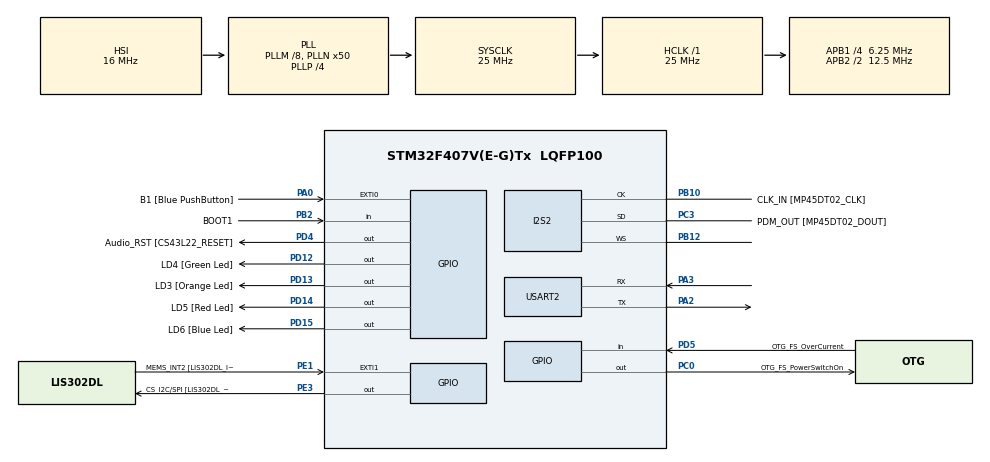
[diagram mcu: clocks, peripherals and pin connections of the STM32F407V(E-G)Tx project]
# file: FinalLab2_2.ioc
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I2S2.AudioFreq=I2S_AUDIOFREQ_44K
I2S2.ErrorAudioFreq=0.26 %
I2S2.Mode=I2S_MODE_MASTER_RX
I2S2.RealAudioFreq=44.117 KHz
Mcu.Family=STM32F4
Mcu.Name=STM32F407V(E-G)Tx
Mcu.Package=LQFP100
NVIC.PriorityGroup=NVIC_PRIORITYGROUP_0
PA0-WKUP.GPIO_Label=B1 [Blue PushButton]
PA0-WKUP.Signal=GPXTI0
PA10.GPIO_Label=OTG_FS_ID
PA10.GPIO_Mode=GPIO_MODE_AF_PP
PA10.GPIO_PuPd=GPIO_NOPULL
PA10.GPIO_Speed=GPIO_SPEED_FREQ_LOW
PA10.Signal=USB_OTG_FS_ID
PA11.GPIO_Label=OTG_FS_DM
PA11.GPIO_Mode=GPIO_MODE_AF_PP
PA11.GPIO_PuPd=GPIO_NOPULL
PA11.GPIO_Speed=GPIO_SPEED_FREQ_LOW
PA11.Signal=USB_OTG_FS_DM
PA12.GPIO_Label=OTG_FS_DP
PA12.GPIO_Mode=GPIO_MODE_AF_PP
PA12.GPIO_PuPd=GPIO_NOPULL
PA12.GPIO_Speed=GPIO_SPEED_FREQ_LOW
PA12.Signal=USB_OTG_FS_DP
PA13.GPIO_Label=SWDIO
PA13.Signal=SYS_JTMS-SWDIO
PA14.GPIO_Label=SWCLK
PA14.Signal=SYS_JTCK-SWCLK
PA2.Mode=Asynchronous
PA2.Signal=USART2_TX
PA3.Mode=Asynchronous
PA3.Signal=USART2_RX
PA4.GPIO_Label=I2S3_WS [CS43L22_LRCK]
PA4.GPIO_Mode=GPIO_MODE_AF_PP
PA4.GPIO_PuPd=GPIO_NOPULL
PA4.GPIO_Speed=GPIO_SPEED_FREQ_LOW
PA4.Signal=I2S3_WS
PA5.GPIO_Label=SPI1_SCK [LIS302DL_SCL/SPC]
PA5.GPIO_Mode=GPIO_MODE_AF_PP
PA5.GPIO_PuPd=GPIO_NOPULL
PA5.GPIO_Speed=GPIO_SPEED_FREQ_LOW
PA5.Signal=SPI1_SCK
PA6.GPIO_Label=SPI1_MISO [LIS302DL_SDO]
PA6.GPIO_Mode=GPIO_MODE_AF_PP
PA6.GPIO_PuPd=GPIO_NOPULL
PA6.GPIO_Speed=GPIO_SPEED_FREQ_LOW
PA6.Signal=SPI1_MISO
PA7.GPIO_Label=SPI1_MOSI [LIS302DL_SDA/SDI/SDO]
PA7.GPIO_Mode=GPIO_MODE_AF_PP
PA7.GPIO_PuPd=GPIO_NOPULL
PA7.GPIO_Speed=GPIO_SPEED_FREQ_LOW
PA7.Signal=SPI1_MOSI
PA9.GPIO_Label=VBUS_FS
PA9.GPIO_Mode=GPIO_MODE_INPUT
PA9.GPIO_PuPd=GPIO_NOPULL
PA9.Signal=USB_OTG_FS_VBUS
PB10.GPIO_Label=CLK_IN [MP45DT02_CLK]
PB10.GPIO_Mode=GPIO_MODE_AF_PP
PB10.GPIO_PuPd=GPIO_NOPULL
PB10.GPIO_Speed=GPIO_SPEED_FREQ_LOW
PB10.Mode=Half_Duplex_Master
PB10.Signal=I2S2_CK
PB12.Mode=Half_Duplex_Master
PB12.Signal=I2S2_WS
PB2.GPIO_Label=BOOT1
PB2.GPIO_Mode=GPIO_MODE_INPUT
PB2.GPIO_PuPd=GPIO_NOPULL
PB2.Signal=GPIO_Input
PB3.GPIO_Label=SWO
PB3.Signal=SYS_JTDO-SWO
PB6.GPIO_Label=Audio_SCL [CS43L22_SCL]
PB6.GPIO_Mode=GPIO_MODE_AF_OD
PB6.GPIO_PuPd=GPIO_NOPULL
PB6.GPIO_Speed=GPIO_SPEED_FREQ_LOW
PB6.Signal=I2C1_SCL
PB9.GPIO_Label=Audio_SDA [CS43L22_SDA]
PB9.GPIO_Mode=GPIO_MODE_AF_OD
PB9.GPIO_PuPd=GPIO_NOPULL
PB9.GPIO_Speed=GPIO_SPEED_FREQ_LOW
PB9.Signal=I2C1_SDA
PC0.GPIO_Label=OTG_FS_PowerSwitchOn
PC0.GPIO_PuPd=GPIO_NOPULL
PC0.GPIO_Speed=GPIO_SPEED_FREQ_LOW
PC0.PinState=GPIO_PIN_SET
PC0.Signal=GPIO_Output
PC10.GPIO_Label=I2S3_SCK [CS43L22_SCLK]
PC10.GPIO_Mode=GPIO_MODE_AF_PP
PC10.GPIO_PuPd=GPIO_NOPULL
PC10.GPIO_Speed=GPIO_SPEED_FREQ_LOW
PC10.Signal=I2S3_CK
PC12.GPIO_Label=I2S3_SD [CS43L22_SDIN]
PC12.GPIO_Mode=GPIO_MODE_AF_PP
PC12.GPIO_PuPd=GPIO_NOPULL
PC12.GPIO_Speed=GPIO_SPEED_FREQ_LOW
PC12.Signal=I2S3_SD
PC14-OSC32_IN.GPIO_Label=PC14-OSC32_IN
PC14-OSC32_IN.Signal=RCC_OSC32_IN
PC15-OSC32_OUT.GPIO_Label=PC15-OSC32_OUT
PC15-OSC32_OUT.Signal=RCC_OSC32_OUT
PC3.GPIO_Label=PDM_OUT [MP45DT02_DOUT]
PC3.GPIO_Mode=GPIO_MODE_AF_PP
PC3.GPIO_PuPd=GPIO_NOPULL
PC3.GPIO_Speed=GPIO_SPEED_FREQ_LOW
PC3.Mode=Half_Duplex_Master
PC3.Signal=I2S2_SD
PC7.GPIO_Label=I2S3_MCK [CS43L22_MCLK]
PC7.GPIO_Mode=GPIO_MODE_AF_PP
PC7.GPIO_PuPd=GPIO_NOPULL
PC7.GPIO_Speed=GPIO_SPEED_FREQ_LOW
PC7.Signal=I2S3_MCK
PD12.GPIO_Label=LD4 [Green Led]
PD12.GPIO_PuPd=GPIO_NOPULL
PD12.GPIO_Speed=GPIO_SPEED_FREQ_LOW
PD12.Signal=GPIO_Output
PD13.GPIO_Label=LD3 [Orange Led]
PD13.GPIO_PuPd=GPIO_NOPULL
PD13.GPIO_Speed=GPIO_SPEED_FREQ_LOW
PD13.Signal=GPIO_Output
PD14.GPIO_Label=LD5 [Red Led]
PD14.GPIO_PuPd=GPIO_NOPULL
PD14.GPIO_Speed=GPIO_SPEED_FREQ_LOW
PD14.Signal=GPIO_Output
PD15.GPIO_Label=LD6 [Blue Led]
PD15.GPIO_PuPd=GPIO_NOPULL
PD15.GPIO_Speed=GPIO_SPEED_FREQ_LOW
PD15.Signal=GPIO_Output
PD4.GPIO_Label=Audio_RST [CS43L22_RESET]
PD4.GPIO_PuPd=GPIO_NOPULL
PD4.GPIO_Speed=GPIO_SPEED_FREQ_LOW
PD4.Signal=GPIO_Output
PD5.GPIO_Label=OTG_FS_OverCurrent
PD5.GPIO_Mode=GPIO_MODE_INPUT
PD5.GPIO_PuPd=GPIO_NOPULL
PD5.Signal=GPIO_Input
PE1.GPIO_Label=MEMS_INT2 [LIS302DL_INT2]
PE1.GPIO_ModeDefaultEXTI=GPIO_MODE_EVT_RISING
PE1.GPIO_PuPd=GPIO_NOPULL
PE1.Signal=GPXTI1
PE3.GPIO_Label=CS_I2C/SPI [LIS302DL_CS_I2C/SPI]
PE3.GPIO_PuPd=GPIO_NOPULL
PE3.GPIO_Speed=GPIO_SPEED_FREQ_LOW
PE3.Signal=GPIO_Output
PH0-OSC_IN.GPIO_Label=PH0-OSC_IN
PH0-OSC_IN.Signal=RCC_OSC_IN
PH1-OSC_OUT.GPIO_Label=PH1-OSC_OUT
PH1-OSC_OUT.Signal=RCC_OSC_OUT
ProjectManager.HeapSize=0x200
ProjectManager.StackSize=0x400
ProjectManager.TargetToolchain=SW4STM32
RCC.48MHZClocksFreq_Value=14285714.285714285
RCC.AHBFreq_Value=25000000
RCC.APB1CLKDivider=RCC_HCLK_DIV4
RCC.APB1Freq_Value=6250000
RCC.APB1TimFreq_Value=12500000
RCC.APB2CLKDivider=RCC_HCLK_DIV2
RCC.APB2Freq_Value=12500000
RCC.APB2TimFreq_Value=25000000
RCC.CortexFreq_Value=25000000
RCC.HCLKFreq_Value=25000000
RCC.HSE_VALUE=8000000
RCC.HSI_VALUE=16000000
RCC.LSE_VALUE=32768
RCC.PLLM=8
RCC.PLLN=50
RCC.PLLP=RCC_PLLP_DIV4
RCC.PLLQ=7
RCC.SYSCLKFreq_VALUE=25000000
RCC.SYSCLKSource=RCC_SYSCLKSOURCE_PLLCLK
RCC.VCOOutputFreq_Value=100000000
board=STM32F407G-DISC1

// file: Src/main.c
/**
  ******************************************************************************
  * File Name          : main.c
  * Description        : Main program body
  ******************************************************************************
  *
  * COPYRIGHT(c) 2559 STMicroelectronics
  *
  * Redistribution and use in source and binary forms, with or without modification,
  * are permitted provided that the following conditions are met:
  *   1. Redistributions of source code must retain the above copyright notice,
  *      this list of conditions and the following disclaimer.
  *   2. Redistributions in binary form must reproduce the above copyright notice,
  *      this list of conditions and the following disclaimer in the documentation
  *      and/or other materials provided with the distribution.
  *   3. Neither the name of STMicroelectronics nor the names of its contributors
  *      may be used to endorse or promote products derived from this software
  *      without specific prior written permission.
  *
  * THIS SOFTWARE IS PROVIDED BY THE COPYRIGHT HOLDERS AND CONTRIBUTORS "AS IS"
  * AND ANY EXPRESS OR IMPLIED WARRANTIES, INCLUDING, BUT NOT LIMITED TO, THE
  * IMPLIED WARRANTIES OF MERCHANTABILITY AND FITNESS FOR A PARTICULAR PURPOSE ARE
  * DISCLAIMED. IN NO EVENT SHALL THE COPYRIGHT HOLDER OR CONTRIBUTORS BE LIABLE
  * FOR ANY DIRECT, INDIRECT, INCIDENTAL, SPECIAL, EXEMPLARY, OR CONSEQUENTIAL
  * DAMAGES (INCLUDING, BUT NOT LIMITED TO, PROCUREMENT OF SUBSTITUTE GOODS OR
  * SERVICES; LOSS OF USE, DATA, OR PROFITS; OR BUSINESS INTERRUPTION) HOWEVER
  * CAUSED AND ON ANY THEORY OF LIABILITY, WHETHER IN CONTRACT, STRICT LIABILITY,
  * OR TORT (INCLUDING NEGLIGENCE OR OTHERWISE) ARISING IN ANY WAY OUT OF THE USE
  * OF THIS SOFTWARE, EVEN IF ADVISED OF THE POSSIBILITY OF SUCH DAMAGE.
  *
  ******************************************************************************
  */
#include "main.h"
#include "stm32f4xx_hal.h"

I2S_HandleTypeDef hi2s2;

UART_HandleTypeDef huart2;

/* USER CODE BEGIN PV */
/* Private variables ---------------------------------------------------------*/

/* USER CODE END PV */

void SystemClock_Config(void);
void Error_Handler(void);
static void MX_GPIO_Init(void);
static void MX_I2S2_Init(void);
static void MX_USART2_UART_Init(void);

/* USER CODE BEGIN PFP */
/* Private function prototypes -----------------------------------------------*/

/* USER CODE END PFP */

/* USER CODE BEGIN 0 */
float absfunc(float x){
	if (x < 0) return -1*x;
	else return x;
}
void DoutoC(double f,char * buffer){
    gcvt(f,10,buffer);
}
/* USER CODE END 0 */

int main(void)
{

  /* MCU Configuration----------------------------------------------------------*/

  /* Reset of all peripherals, Initializes the Flash interface and the Systick. */
  HAL_Init();

  /* Configure the system clock */
  SystemClock_Config();

  /* Initialize all configured peripherals */
  MX_GPIO_Init();
  MX_I2S2_Init();
  MX_USART2_UART_Init();

  /* USER CODE BEGIN 2 */
  uint16_t buffer[20];
  uint16_t pdm=0;
  uint8_t  pcm=0;
  int it,tick = 0;
  float pcm_buffer = 0.0;
  float amp = 0.0;
  float max_amp = 0;
  char max_amp_str[20];
  /* USER CODE END 2 */

  /* Infinite loop */
  /* USER CODE BEGIN WHILE */
  while (1)
  {
	  /* Read Value From I2S */
	  HAL_I2S_Receive(&hi2s2, buffer, 20, 1000);

    tick = tick+1;
	  for(it=0; it<20; it++){
	        pcm = -8;
	        pdm = buffer[it];
	        // Count high bit
	        while ( pdm != 0 ) {
	          pcm ++;
	          pdm ^= pdm & -pdm;
	        }
	        pcm_buffer += pcm;
	        pcm_buffer *= 0.95;
	        amp += absfunc(pcm_buffer);
	        amp *= 0.95;
	  }
	  // replace with new Max amp
    if(max_amp <amp) {
	    max_amp = amp;
	  }

    // reset every 1000 ticks
	  if(tick == 1000){
	    DoutoC(max_amp,max_amp_str);
	    HAL_UART_Transmit(&huart2,max_amp_str,10, 1000);
	    HAL_UART_Transmit(&huart2,"\n\r",2, 1000);
	    max_amp = 0;
	    tick = 0;
	  }

  /* USER CODE END WHILE */

  }

}

/** System Clock Configuration
*/
void SystemClock_Config(void)
{

  RCC_OscInitTypeDef RCC_OscInitStruct;
  RCC_ClkInitTypeDef RCC_ClkInitStruct;
  RCC_PeriphCLKInitTypeDef PeriphClkInitStruct;

    /**Configure the main internal regulator output voltage
    */
  __HAL_RCC_PWR_CLK_ENABLE();

  __HAL_PWR_VOLTAGESCALING_CONFIG(PWR_REGULATOR_VOLTAGE_SCALE1);

    /**Initializes the CPU, AHB and APB busses clocks
    */
  RCC_OscInitStruct.OscillatorType = RCC_OSCILLATORTYPE_HSI;
  RCC_OscInitStruct.HSIState = RCC_HSI_ON;
  RCC_OscInitStruct.HSICalibrationValue = 16;
  RCC_OscInitStruct.PLL.PLLState = RCC_PLL_ON;
  RCC_OscInitStruct.PLL.PLLSource = RCC_PLLSOURCE_HSI;
  RCC_OscInitStruct.PLL.PLLM = 8;
  RCC_OscInitStruct.PLL.PLLN = 50;
  RCC_OscInitStruct.PLL.PLLP = RCC_PLLP_DIV4;
  RCC_OscInitStruct.PLL.PLLQ = 7;
  if (HAL_RCC_OscConfig(&RCC_OscInitStruct) != HAL_OK)
  {
    Error_Handler();
  }

    /**Initializes the CPU, AHB and APB busses clocks
    */
  RCC_ClkInitStruct.ClockType = RCC_CLOCKTYPE_HCLK|RCC_CLOCKTYPE_SYSCLK
                              |RCC_CLOCKTYPE_PCLK1|RCC_CLOCKTYPE_PCLK2;
  RCC_ClkInitStruct.SYSCLKSource = RCC_SYSCLKSOURCE_PLLCLK;
  RCC_ClkInitStruct.AHBCLKDivider = RCC_SYSCLK_DIV1;
  RCC_ClkInitStruct.APB1CLKDivider = RCC_HCLK_DIV4;
  RCC_ClkInitStruct.APB2CLKDivider = RCC_HCLK_DIV2;

  if (HAL_RCC_ClockConfig(&RCC_ClkInitStruct, FLASH_LATENCY_0) != HAL_OK)
  {
    Error_Handler();
  }

  PeriphClkInitStruct.PeriphClockSelection = RCC_PERIPHCLK_I2S;
  PeriphClkInitStruct.PLLI2S.PLLI2SN = 192;
  PeriphClkInitStruct.PLLI2S.PLLI2SR = 2;
  if (HAL_RCCEx_PeriphCLKConfig(&PeriphClkInitStruct) != HAL_OK)
  {
    Error_Handler();
  }

    /**Configure the Systick interrupt time
    */
  HAL_SYSTICK_Config(HAL_RCC_GetHCLKFreq()/1000);

    /**Configure the Systick
    */
  HAL_SYSTICK_CLKSourceConfig(SYSTICK_CLKSOURCE_HCLK);

  /* SysTick_IRQn interrupt configuration */
  HAL_NVIC_SetPriority(SysTick_IRQn, 0, 0);
}

/* I2S2 init function */
static void MX_I2S2_Init(void)
{

  hi2s2.Instance = SPI2;
  hi2s2.Init.Mode = I2S_MODE_MASTER_RX;
  hi2s2.Init.Standard = I2S_STANDARD_PHILIPS;
  hi2s2.Init.DataFormat = I2S_DATAFORMAT_16B;
  hi2s2.Init.MCLKOutput = I2S_MCLKOUTPUT_DISABLE;
  hi2s2.Init.AudioFreq = I2S_AUDIOFREQ_192K;
  hi2s2.Init.CPOL = I2S_CPOL_LOW;
  hi2s2.Init.ClockSource = I2S_CLOCK_PLL;
  hi2s2.Init.FullDuplexMode = I2S_FULLDUPLEXMODE_DISABLE;
  if (HAL_I2S_Init(&hi2s2) != HAL_OK)
  {
    Error_Handler();
  }

}

/* USART2 init function */
static void MX_USART2_UART_Init(void)
{

  huart2.Instance = USART2;
  huart2.Init.BaudRate = 115200;
  huart2.Init.WordLength = UART_WORDLENGTH_8B;
  huart2.Init.StopBits = UART_STOPBITS_1;
  huart2.Init.Parity = UART_PARITY_NONE;
  huart2.Init.Mode = UART_MODE_TX_RX;
  huart2.Init.HwFlowCtl = UART_HWCONTROL_NONE;
  huart2.Init.OverSampling = UART_OVERSAMPLING_16;
  if (HAL_UART_Init(&huart2) != HAL_OK)
  {
    Error_Handler();
  }

}

/** Configure pins as
        * Analog
        * Input
        * Output
        * EVENT_OUT
        * EXTI
     PA4   ------> I2S3_WS
     PA5   ------> SPI1_SCK
     PA6   ------> SPI1_MISO
     PA7   ------> SPI1_MOSI
     PC7   ------> I2S3_MCK
     PA9   ------> USB_OTG_FS_VBUS
     PA10   ------> USB_OTG_FS_ID
     PA11   ------> USB_OTG_FS_DM
     PA12   ------> USB_OTG_FS_DP
     PC10   ------> I2S3_CK
     PC12   ------> I2S3_SD
     PB6   ------> I2C1_SCL
     PB9   ------> I2C1_SDA
*/
static void MX_GPIO_Init(void)
{

  GPIO_InitTypeDef GPIO_InitStruct;

  /* GPIO Ports Clock Enable */
  __HAL_RCC_GPIOE_CLK_ENABLE();
  __HAL_RCC_GPIOC_CLK_ENABLE();
  __HAL_RCC_GPIOH_CLK_ENABLE();
  __HAL_RCC_GPIOA_CLK_ENABLE();
  __HAL_RCC_GPIOB_CLK_ENABLE();
  __HAL_RCC_GPIOD_CLK_ENABLE();

  /*Configure GPIO pin Output Level */
  HAL_GPIO_WritePin(CS_I2C_SPI_GPIO_Port, CS_I2C_SPI_Pin, GPIO_PIN_RESET);

  /*Configure GPIO pin Output Level */
  HAL_GPIO_WritePin(OTG_FS_PowerSwitchOn_GPIO_Port, OTG_FS_PowerSwitchOn_Pin, GPIO_PIN_SET);

  /*Configure GPIO pin Output Level */
  HAL_GPIO_WritePin(GPIOD, LD4_Pin|LD3_Pin|LD5_Pin|LD6_Pin
                          |Audio_RST_Pin, GPIO_PIN_RESET);

  /*Configure GPIO pin : CS_I2C_SPI_Pin */
  GPIO_InitStruct.Pin = CS_I2C_SPI_Pin;
  GPIO_InitStruct.Mode = GPIO_MODE_OUTPUT_PP;
  GPIO_InitStruct.Pull = GPIO_NOPULL;
  GPIO_InitStruct.Speed = GPIO_SPEED_FREQ_LOW;
  HAL_GPIO_Init(CS_I2C_SPI_GPIO_Port, &GPIO_InitStruct);

  /*Configure GPIO pin : OTG_FS_PowerSwitchOn_Pin */
  GPIO_InitStruct.Pin = OTG_FS_PowerSwitchOn_Pin;
  GPIO_InitStruct.Mode = GPIO_MODE_OUTPUT_PP;
  GPIO_InitStruct.Pull = GPIO_NOPULL;
  GPIO_InitStruct.Speed = GPIO_SPEED_FREQ_LOW;
  HAL_GPIO_Init(OTG_FS_PowerSwitchOn_GPIO_Port, &GPIO_InitStruct);

  /*Configure GPIO pin : B1_Pin */
  GPIO_InitStruct.Pin = B1_Pin;
  GPIO_InitStruct.Mode = GPIO_MODE_IT_RISING;
  GPIO_InitStruct.Pull = GPIO_NOPULL;
  HAL_GPIO_Init(B1_GPIO_Port, &GPIO_InitStruct);

  /*Configure GPIO pin : I2S3_WS_Pin */
  GPIO_InitStruct.Pin = I2S3_WS_Pin;
  GPIO_InitStruct.Mode = GPIO_MODE_AF_PP;
  GPIO_InitStruct.Pull = GPIO_NOPULL;
  GPIO_InitStruct.Speed = GPIO_SPEED_FREQ_LOW;
  GPIO_InitStruct.Alternate = GPIO_AF6_SPI3;
  HAL_GPIO_Init(I2S3_WS_GPIO_Port, &GPIO_InitStruct);

  /*Configure GPIO pins : SPI1_SCK_Pin SPI1_MISO_Pin SPI1_MOSI_Pin */
  GPIO_InitStruct.Pin = SPI1_SCK_Pin|SPI1_MISO_Pin|SPI1_MOSI_Pin;
  GPIO_InitStruct.Mode = GPIO_MODE_AF_PP;
  GPIO_InitStruct.Pull = GPIO_NOPULL;
  GPIO_InitStruct.Speed = GPIO_SPEED_FREQ_LOW;
  GPIO_InitStruct.Alternate = GPIO_AF5_SPI1;
  HAL_GPIO_Init(GPIOA, &GPIO_InitStruct);

  /*Configure GPIO pin : BOOT1_Pin */
  GPIO_InitStruct.Pin = BOOT1_Pin;
  GPIO_InitStruct.Mode = GPIO_MODE_INPUT;
  GPIO_InitStruct.Pull = GPIO_NOPULL;
  HAL_GPIO_Init(BOOT1_GPIO_Port, &GPIO_InitStruct);

  /*Configure GPIO pins : LD4_Pin LD3_Pin LD5_Pin LD6_Pin
                           Audio_RST_Pin */
  GPIO_InitStruct.Pin = LD4_Pin|LD3_Pin|LD5_Pin|LD6_Pin
                          |Audio_RST_Pin;
  GPIO_InitStruct.Mode = GPIO_MODE_OUTPUT_PP;
  GPIO_InitStruct.Pull = GPIO_NOPULL;
  GPIO_InitStruct.Speed = GPIO_SPEED_FREQ_LOW;
  HAL_GPIO_Init(GPIOD, &GPIO_InitStruct);

  /*Configure GPIO pins : I2S3_MCK_Pin I2S3_SCK_Pin I2S3_SD_Pin */
  GPIO_InitStruct.Pin = I2S3_MCK_Pin|I2S3_SCK_Pin|I2S3_SD_Pin;
  GPIO_InitStruct.Mode = GPIO_MODE_AF_PP;
  GPIO_InitStruct.Pull = GPIO_NOPULL;
  GPIO_InitStruct.Speed = GPIO_SPEED_FREQ_LOW;
  GPIO_InitStruct.Alternate = GPIO_AF6_SPI3;
  HAL_GPIO_Init(GPIOC, &GPIO_InitStruct);

  /*Configure GPIO pin : VBUS_FS_Pin */
  GPIO_InitStruct.Pin = VBUS_FS_Pin;
  GPIO_InitStruct.Mode = GPIO_MODE_INPUT;
  GPIO_InitStruct.Pull = GPIO_NOPULL;
  HAL_GPIO_Init(VBUS_FS_GPIO_Port, &GPIO_InitStruct);

  /*Configure GPIO pins : OTG_FS_ID_Pin OTG_FS_DM_Pin OTG_FS_DP_Pin */
  GPIO_InitStruct.Pin = OTG_FS_ID_Pin|OTG_FS_DM_Pin|OTG_FS_DP_Pin;
  GPIO_InitStruct.Mode = GPIO_MODE_AF_PP;
  GPIO_InitStruct.Pull = GPIO_NOPULL;
  GPIO_InitStruct.Speed = GPIO_SPEED_FREQ_LOW;
  GPIO_InitStruct.Alternate = GPIO_AF10_OTG_FS;
  HAL_GPIO_Init(GPIOA, &GPIO_InitStruct);

  /*Configure GPIO pin : OTG_FS_OverCurrent_Pin */
  GPIO_InitStruct.Pin = OTG_FS_OverCurrent_Pin;
  GPIO_InitStruct.Mode = GPIO_MODE_INPUT;
  GPIO_InitStruct.Pull = GPIO_NOPULL;
  HAL_GPIO_Init(OTG_FS_OverCurrent_GPIO_Port, &GPIO_InitStruct);

  /*Configure GPIO pins : Audio_SCL_Pin Audio_SDA_Pin */
  GPIO_InitStruct.Pin = Audio_SCL_Pin|Audio_SDA_Pin;
  GPIO_InitStruct.Mode = GPIO_MODE_AF_OD;
  GPIO_InitStruct.Pull = GPIO_PULLUP;
  GPIO_InitStruct.Speed = GPIO_SPEED_FREQ_LOW;
  GPIO_InitStruct.Alternate = GPIO_AF4_I2C1;
  HAL_GPIO_Init(GPIOB, &GPIO_InitStruct);

  /*Configure GPIO pin : MEMS_INT2_Pin */
  GPIO_InitStruct.Pin = MEMS_INT2_Pin;
  GPIO_InitStruct.Mode = GPIO_MODE_EVT_RISING;
  GPIO_InitStruct.Pull = GPIO_NOPULL;
  HAL_GPIO_Init(MEMS_INT2_GPIO_Port, &GPIO_InitStruct);

}

void Error_Handler(void)
{
  while(1)
  {
  }
}

/************************ (C) COPYRIGHT STMicroelectronics *****END OF FILE****/
